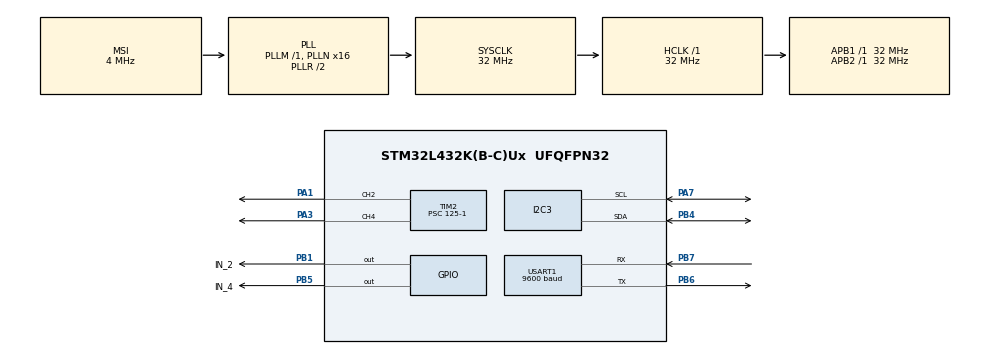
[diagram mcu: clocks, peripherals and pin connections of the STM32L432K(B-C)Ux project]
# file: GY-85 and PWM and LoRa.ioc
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I2C3.Timing=0x00707CBB
Mcu.Family=STM32L4
Mcu.Name=STM32L432K(B-C)Ux
Mcu.Package=UFQFPN32
NVIC.PriorityGroup=NVIC_PRIORITYGROUP_4
NVIC.TIM2_IRQn=true\:0\:0\:false\:false\:true\:true\:true
NVIC.USART1_IRQn=true\:0\:0\:false\:false\:true\:true\:true
PA1.Signal=S_TIM2_CH2
PA13\ (JTMS-SWDIO).Mode=Serial_Wire
PA13\ (JTMS-SWDIO).Signal=SYS_JTMS-SWDIO
PA14\ (JTCK-SWCLK).Mode=Serial_Wire
PA14\ (JTCK-SWCLK).Signal=SYS_JTCK-SWCLK
PA3.Signal=S_TIM2_CH4
PA7.Mode=I2C
PA7.Signal=I2C3_SCL
PB1.GPIO_Label=IN_2
PB1.Signal=GPIO_Output
PB4\ (NJTRST).Mode=I2C
PB4\ (NJTRST).Signal=I2C3_SDA
PB5.GPIO_Label=IN_4
PB5.Signal=GPIO_Output
PB6.Mode=Asynchronous
PB6.Signal=USART1_TX
PB7.Mode=Asynchronous
PB7.Signal=USART1_RX
PC14-OSC32_IN\ (PC14).Mode=LSE-External-Oscillator
PC14-OSC32_IN\ (PC14).Signal=RCC_OSC32_IN
PC15-OSC32_OUT\ (PC15).Mode=LSE-External-Oscillator
PC15-OSC32_OUT\ (PC15).Signal=RCC_OSC32_OUT
ProjectManager.HeapSize=0x200
ProjectManager.StackSize=0x400
ProjectManager.TargetToolchain=EWARM V8
RCC.AHBFreq_Value=32000000
RCC.APB1Freq_Value=32000000
RCC.APB1TimFreq_Value=32000000
RCC.APB2Freq_Value=32000000
RCC.APB2TimFreq_Value=32000000
RCC.CortexFreq_Value=32000000
RCC.HCLKFreq_Value=32000000
RCC.HSE_VALUE=8000000
RCC.HSI16_VALUE=16000000
RCC.HSI48_VALUE=48000000
RCC.HSI_VALUE=16000000
RCC.MSI_VALUE=4000000
RCC.PLLMUL=RCC_PLLMUL_4
RCC.PLLN=16
RCC.SYSCLKFreq_VALUE=32000000
RCC.SYSCLKSource=RCC_SYSCLKSOURCE_PLLCLK
RCC.VCOOutputFreq_Value=64000000
SH.S_TIM2_CH2.0=TIM2_CH2,PWM Generation2 CH2
SH.S_TIM2_CH4.0=TIM2_CH4,PWM Generation4 CH4
TIM2.Channel-PWM\ Generation2\ CH2=TIM_CHANNEL_2
TIM2.Channel-PWM\ Generation4\ CH4=TIM_CHANNEL_4
TIM2.Period=255
TIM2.Prescaler=125-1
USART1.BaudRate=9600
USART1.VirtualMode-Asynchronous=VM_ASYNC
VP_TIM2_VS_ClockSourceINT.Mode=Internal
board=NUCLEO-L432KC

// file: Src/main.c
/* USER CODE BEGIN Header */
/**
 ******************************************************************************
 * @file           : main.c
 * @brief          : Main program body
 ******************************************************************************
 * @attention
 *
 * <h2><center>&copy; Copyright (c) 2019 STMicroelectronics.
 * All rights reserved.</center></h2>
 *
 * This software component is licensed by ST under BSD 3-Clause license,
 * the "License"; You may not use this file except in compliance with the
 * License. You may obtain a copy of the License at:
 *                        opensource.org/licenses/BSD-3-Clause
 *
 ******************************************************************************
 */
/* USER CODE END Header */

#include "main.h"

/* USER CODE BEGIN Includes */
#include "ITG3205.h"
#include <QMC5883L.h>
#include "calculation.h"
#include <stdio.h>
#include <stdlib.h>
/* USER CODE END Includes */

/* USER CODE BEGIN PTD */
enum satStatus
{
	Idle,
	Pointing,
	Bidot,
	Search
};
/* USER CODE END PTD */

I2C_HandleTypeDef hi2c3;

TIM_HandleTypeDef htim2;

UART_HandleTypeDef huart1;

/* USER CODE BEGIN PV */
/*??????????????? ?????????? ****************************************************************************** */
float calibDataGyro[3]; /*?????? ??????????????? ?????? ?????????: ??????? ???????? ? ????/???*/ /*?????? ????? ?????? ????????? */
float calibDataMagnet[3];																		 /*?????? ??????????????? ?????? ????????????: ????????? ???????? ? ????? ????? */
char transmitMagnet[200];																		 /*?????? ?????? ???????????? ?? ???????? ?? UART*/
float currentAngle;																				 /*??????? ????*/
int pinStatus = 0;																				 /*?????? ???????? ????? ??? ??? */
int pinStatusX = 2, pinStatusY = 2;																 /*?????? ???????? ????? ??? ??? */
int uartCount = 0;
//float koeff = 321037;	/*??????????? ??????? ??????? ????????, ????? ?????????? ????????*/
//const float _koeff = 10000;
float gyroCalibZ = 1.0;
float voltageX = 0, voltageY = 0;
float magnetMedianX = 0;
float magnetMedianY = 0;
float magnetMedianZ = 0;

float uartStopVelocity = defaultStopVelocity;
float uartAngleReq = defaultAngleReq;

uint8_t PWM_PA3 = 240; /*?????????? ?? ????????? ??? ?? PA3 */
uint8_t PWM_PA1 = 240; /*?????????? ?? ????????? ??? ?? PA1 */
uint8_t uartBuff[3];
uint8_t firstByte;
short receivedStopSpeed;
short receivedReqAngle;

enum satStatus swarmSatStatus = Idle;
/* USER CODE END PV */

void SystemClock_Config(void);
static void MX_GPIO_Init(void);
static void MX_TIM2_Init(void);
static void MX_I2C3_Init(void);
static void MX_USART1_UART_Init(void);

int main(void)
{

	/* MCU Configuration--------------------------------------------------------*/

	/* Reset of all peripherals, Initializes the Flash interface and the Systick. */
	HAL_Init();

	/* Configure the system clock */
	SystemClock_Config();

	/* Initialize all configured peripherals */
	MX_GPIO_Init();
	MX_TIM2_Init();
	MX_I2C3_Init();
	MX_USART1_UART_Init();
	I2Cdev_init(&hi2c3);
	HAL_Delay(3000);
	QMC5883L_init();
	initGyro();
	/* USER CODE BEGIN 2 */
	/*???????? ??? **********************************************************************************************/
	HAL_TIM_PWM_Start(&htim2, TIM_CHANNEL_2);
	HAL_TIM_PWM_Start(&htim2, TIM_CHANNEL_4);
	HAL_GPIO_WritePin(GPIOB, IN_4_Pin | IN_2_Pin, GPIO_PIN_RESET);
	/* USER CODE END 2 */
	/*???????? ??????????????? ?????? ? ????????? ? ?????????? ???????? ??????? ???????? ? ??????????????? ??????*/
	getGyroscopeData(calibDataGyro);
	/*???????? ??????????????? ?????? ? ???????????? ? ?????????? ???????? ???? ? �T ? ??????????????? ?????? * */
	QMC5883L_read(calibDataMagnet);
	/*???????????? "???????" ???? ???????? ************************************************************************/
	currentAngle = ((atan2(-calibDataMagnet[1], calibDataMagnet[0])) * 180) / PI;
	/* Infinite loop */
	/* USER CODE BEGIN WHILE */
	HAL_Delay(2000);

	while (1)
	{
		switch (swarmSatStatus)
		{
		case (Idle):
			voltageX = 0;
			voltageY = 0;
			break;
		case (Bidot):
			getVoltageBidot(gyroCalibZ * PI / 180, calibDataMagnet, &voltageX, &voltageY, uartStopVelocity);
			break;
		case (Pointing):
			getVoltagePointing(gyroCalibZ * PI / 180, calibDataMagnet, currentAngle * PI / 180, &voltageX, &voltageY, uartAngleReq);
			break;
		case (Search):
			//���� �������� ��������
			break;
		default:
			swarmSatStatus = Idle;
			break;
		}

		HAL_UART_Receive_IT(&huart1, uartBuff, 3);
		firstByte = uartBuff[0];
		if (firstByte == 1)
		{
			swarmSatStatus = Bidot;
			uartStopVelocity = uartBuff[1] * 256 + uartBuff[2]; //(uartBuff[1] << 8) & 0xFF + uartBuff[2] & 0xFF;
			uartStopVelocity = uartStopVelocity * PI / 180;
		}
		else if (firstByte == 2)
		{
			swarmSatStatus = Pointing;
			uartAngleReq = uartBuff[1] * 256 + uartBuff[2];
			if (uartAngleReq > 180)
			{
				uartAngleReq -= 360;
			}
			uartAngleReq = uartAngleReq * PI / 180;
		}
		else if (firstByte == 3)
		{
			swarmSatStatus = Idle;
		}
		scaleVoltage(&voltageX, &voltageY);
		getPWM(voltageX, &pinStatusX, &PWM_PA1);
		if (pinStatusX == 0)
		{
			HAL_GPIO_WritePin(GPIOB, IN_4_Pin, GPIO_PIN_RESET);
		}
		else
		{
			HAL_GPIO_WritePin(GPIOB, IN_4_Pin, GPIO_PIN_SET);
		}
		htim2.Instance->CCR2 = PWM_PA1;

		getPWM(voltageY, &pinStatusY, &PWM_PA3);
		if (pinStatusY == 0)
		{
			HAL_GPIO_WritePin(GPIOB, IN_2_Pin, GPIO_PIN_RESET);
		}
		else
		{
			HAL_GPIO_WritePin(GPIOB, IN_2_Pin, GPIO_PIN_SET);
		}
		htim2.Instance->CCR4 = PWM_PA3;
		//********************************************************************
		//UART telemetry sending code
		uartCount++;
		if (uartCount > 4)
		{
			//sprintf(transmitMagnet, "GG m_X = %0.2f   m_Y = %0.2f  angle = %0.2f speed = %0.2f\r\n", calibDataMagnet[0]*1000000 , calibDataMagnet[1]*1000000, currentAngle, gyroCalibZ * PI / 180.0);
                  sprintf(transmitMagnet, "Gu dirX = %i  dirY = %i PA1 = %d  PA3 = %d  m_X = %0.2f   m_Y = %0.2f  speed = %0.2f angle = %0.2f status = %i uartStopVelocity = %0.2f uartAngleReq = %0.2f\r\n", pinStatusX, pinStatusY, PWM_PA1, PWM_PA3, calibDataMagnet[0] * 1000000, calibDataMagnet[1] * 1000000, gyroCalibZ * PI / 180.0, currentAngle, firstByte, uartStopVelocity, uartAngleReq * 180 / PI);
			HAL_UART_Transmit_IT(&huart1, transmitMagnet, 200);
			uartCount = 0;
			HAL_Delay(10);
		}

		HAL_Delay(100);
		PWM_PA1 = 0;
		PWM_PA3 = 0;
		htim2.Instance->CCR4 = PWM_PA1;
		htim2.Instance->CCR2 = PWM_PA3;
		HAL_GPIO_WritePin(GPIOB, IN_2_Pin, GPIO_PIN_RESET);
		HAL_GPIO_WritePin(GPIOB, IN_4_Pin, GPIO_PIN_RESET);
		HAL_Delay(30);

		//Magnetometer averaging
		magnetMedianX = 0;
		magnetMedianY = 0;
		magnetMedianZ = 0;
		for (int i = 0; i < 3; i++)
		{
			QMC5883L_read(calibDataMagnet);
			magnetMedianY += calibDataMagnet[0];
			magnetMedianZ += calibDataMagnet[2];
			magnetMedianX += calibDataMagnet[1];
		}
		calibDataMagnet[0] = (magnetMedianY / 3.0) * 1e-6;
		calibDataMagnet[1] = (magnetMedianX / 3.0) * 1e-6;
		calibDataMagnet[2] = (magnetMedianY / 3.0) * 1e-6;
		//**************************************************
		//Gyro averaging
		gyroCalibZ = 0.0;
		for (int i = 0; i < 3; i++)
		{
			getGyroscopeData(calibDataGyro);
			gyroCalibZ += calibDataGyro[2];
		}
		gyroCalibZ /= 3;
		currentAngle = ((atan2(-calibDataMagnet[1], calibDataMagnet[0])) * 180) / PI;

	}
	/* USER CODE END 3 */
}

void SystemClock_Config(void)
{
  RCC_OscInitTypeDef RCC_OscInitStruct = {0};
  RCC_ClkInitTypeDef RCC_ClkInitStruct = {0};
  RCC_PeriphCLKInitTypeDef PeriphClkInit = {0};

  /** Configure LSE Drive Capability
  */
  HAL_PWR_EnableBkUpAccess();
  __HAL_RCC_LSEDRIVE_CONFIG(RCC_LSEDRIVE_LOW);
  /** Initializes the CPU, AHB and APB busses clocks
  */
  RCC_OscInitStruct.OscillatorType = RCC_OSCILLATORTYPE_LSE|RCC_OSCILLATORTYPE_MSI;
  RCC_OscInitStruct.LSEState = RCC_LSE_ON;
  RCC_OscInitStruct.MSIState = RCC_MSI_ON;
  RCC_OscInitStruct.MSICalibrationValue = 0;
  RCC_OscInitStruct.MSIClockRange = RCC_MSIRANGE_6;
  RCC_OscInitStruct.PLL.PLLState = RCC_PLL_ON;
  RCC_OscInitStruct.PLL.PLLSource = RCC_PLLSOURCE_MSI;
  RCC_OscInitStruct.PLL.PLLM = 1;
  RCC_OscInitStruct.PLL.PLLN = 16;
  RCC_OscInitStruct.PLL.PLLP = RCC_PLLP_DIV7;
  RCC_OscInitStruct.PLL.PLLQ = RCC_PLLQ_DIV2;
  RCC_OscInitStruct.PLL.PLLR = RCC_PLLR_DIV2;
  if (HAL_RCC_OscConfig(&RCC_OscInitStruct) != HAL_OK)
  {
    Error_Handler();
  }
  /** Initializes the CPU, AHB and APB busses clocks
  */
  RCC_ClkInitStruct.ClockType = RCC_CLOCKTYPE_HCLK|RCC_CLOCKTYPE_SYSCLK
                              |RCC_CLOCKTYPE_PCLK1|RCC_CLOCKTYPE_PCLK2;
  RCC_ClkInitStruct.SYSCLKSource = RCC_SYSCLKSOURCE_PLLCLK;
  RCC_ClkInitStruct.AHBCLKDivider = RCC_SYSCLK_DIV1;
  RCC_ClkInitStruct.APB1CLKDivider = RCC_HCLK_DIV1;
  RCC_ClkInitStruct.APB2CLKDivider = RCC_HCLK_DIV1;

  if (HAL_RCC_ClockConfig(&RCC_ClkInitStruct, FLASH_LATENCY_1) != HAL_OK)
  {
    Error_Handler();
  }
  PeriphClkInit.PeriphClockSelection = RCC_PERIPHCLK_USART1|RCC_PERIPHCLK_I2C3;
  PeriphClkInit.Usart1ClockSelection = RCC_USART1CLKSOURCE_PCLK2;
  PeriphClkInit.I2c3ClockSelection = RCC_I2C3CLKSOURCE_PCLK1;
  if (HAL_RCCEx_PeriphCLKConfig(&PeriphClkInit) != HAL_OK)
  {
    Error_Handler();
  }
  /** Configure the main internal regulator output voltage
  */
  if (HAL_PWREx_ControlVoltageScaling(PWR_REGULATOR_VOLTAGE_SCALE1) != HAL_OK)
  {
    Error_Handler();
  }
  /** Enable MSI Auto calibration
  */
  HAL_RCCEx_EnableMSIPLLMode();
}

static void MX_I2C3_Init(void)
{

  hi2c3.Instance = I2C3;
  hi2c3.Init.Timing = 0x00707CBB;
  hi2c3.Init.OwnAddress1 = 0;
  hi2c3.Init.AddressingMode = I2C_ADDRESSINGMODE_7BIT;
  hi2c3.Init.DualAddressMode = I2C_DUALADDRESS_DISABLE;
  hi2c3.Init.OwnAddress2 = 0;
  hi2c3.Init.OwnAddress2Masks = I2C_OA2_NOMASK;
  hi2c3.Init.GeneralCallMode = I2C_GENERALCALL_DISABLE;
  hi2c3.Init.NoStretchMode = I2C_NOSTRETCH_DISABLE;
  if (HAL_I2C_Init(&hi2c3) != HAL_OK)
  {
    Error_Handler();
  }
  /** Configure Analogue filter
  */
  if (HAL_I2CEx_ConfigAnalogFilter(&hi2c3, I2C_ANALOGFILTER_ENABLE) != HAL_OK)
  {
    Error_Handler();
  }
  /** Configure Digital filter
  */
  if (HAL_I2CEx_ConfigDigitalFilter(&hi2c3, 0) != HAL_OK)
  {
    Error_Handler();
  }

}

static void MX_TIM2_Init(void)
{

  TIM_ClockConfigTypeDef sClockSourceConfig = {0};
  TIM_MasterConfigTypeDef sMasterConfig = {0};
  TIM_OC_InitTypeDef sConfigOC = {0};

  htim2.Instance = TIM2;
  htim2.Init.Prescaler = 125-1;
  htim2.Init.CounterMode = TIM_COUNTERMODE_UP;
  htim2.Init.Period = 255;
  htim2.Init.ClockDivision = TIM_CLOCKDIVISION_DIV1;
  htim2.Init.AutoReloadPreload = TIM_AUTORELOAD_PRELOAD_DISABLE;
  if (HAL_TIM_Base_Init(&htim2) != HAL_OK)
  {
    Error_Handler();
  }
  sClockSourceConfig.ClockSource = TIM_CLOCKSOURCE_INTERNAL;
  if (HAL_TIM_ConfigClockSource(&htim2, &sClockSourceConfig) != HAL_OK)
  {
    Error_Handler();
  }
  if (HAL_TIM_PWM_Init(&htim2) != HAL_OK)
  {
    Error_Handler();
  }
  sMasterConfig.MasterOutputTrigger = TIM_TRGO_RESET;
  sMasterConfig.MasterSlaveMode = TIM_MASTERSLAVEMODE_DISABLE;
  if (HAL_TIMEx_MasterConfigSynchronization(&htim2, &sMasterConfig) != HAL_OK)
  {
    Error_Handler();
  }
  sConfigOC.OCMode = TIM_OCMODE_PWM1;
  sConfigOC.Pulse = 0;
  sConfigOC.OCPolarity = TIM_OCPOLARITY_HIGH;
  sConfigOC.OCFastMode = TIM_OCFAST_DISABLE;
  if (HAL_TIM_PWM_ConfigChannel(&htim2, &sConfigOC, TIM_CHANNEL_2) != HAL_OK)
  {
    Error_Handler();
  }
  if (HAL_TIM_PWM_ConfigChannel(&htim2, &sConfigOC, TIM_CHANNEL_4) != HAL_OK)
  {
    Error_Handler();
  }
  HAL_TIM_MspPostInit(&htim2);

}

static void MX_USART1_UART_Init(void)
{

  huart1.Instance = USART1;
  huart1.Init.BaudRate = 9600;
  huart1.Init.WordLength = UART_WORDLENGTH_8B;
  huart1.Init.StopBits = UART_STOPBITS_1;
  huart1.Init.Parity = UART_PARITY_NONE;
  huart1.Init.Mode = UART_MODE_TX_RX;
  huart1.Init.HwFlowCtl = UART_HWCONTROL_NONE;
  huart1.Init.OverSampling = UART_OVERSAMPLING_16;
  huart1.Init.OneBitSampling = UART_ONE_BIT_SAMPLE_DISABLE;
  huart1.AdvancedInit.AdvFeatureInit = UART_ADVFEATURE_NO_INIT;
  if (HAL_UART_Init(&huart1) != HAL_OK)
  {
    Error_Handler();
  }

}

static void MX_GPIO_Init(void)
{
  GPIO_InitTypeDef GPIO_InitStruct = {0};

  /* GPIO Ports Clock Enable */
  __HAL_RCC_GPIOC_CLK_ENABLE();
  __HAL_RCC_GPIOA_CLK_ENABLE();
  __HAL_RCC_GPIOB_CLK_ENABLE();

  /*Configure GPIO pin Output Level */
  HAL_GPIO_WritePin(GPIOB, IN_2_Pin|IN_4_Pin, GPIO_PIN_RESET);

  /*Configure GPIO pins : IN_2_Pin IN_4_Pin */
  GPIO_InitStruct.Pin = IN_2_Pin|IN_4_Pin;
  GPIO_InitStruct.Mode = GPIO_MODE_OUTPUT_PP;
  GPIO_InitStruct.Pull = GPIO_NOPULL;
  GPIO_InitStruct.Speed = GPIO_SPEED_FREQ_LOW;
  HAL_GPIO_Init(GPIOB, &GPIO_InitStruct);

}

void Error_Handler(void)
{
}

/************************ (C) COPYRIGHT STMicroelectronics *****END OF FILE****/
